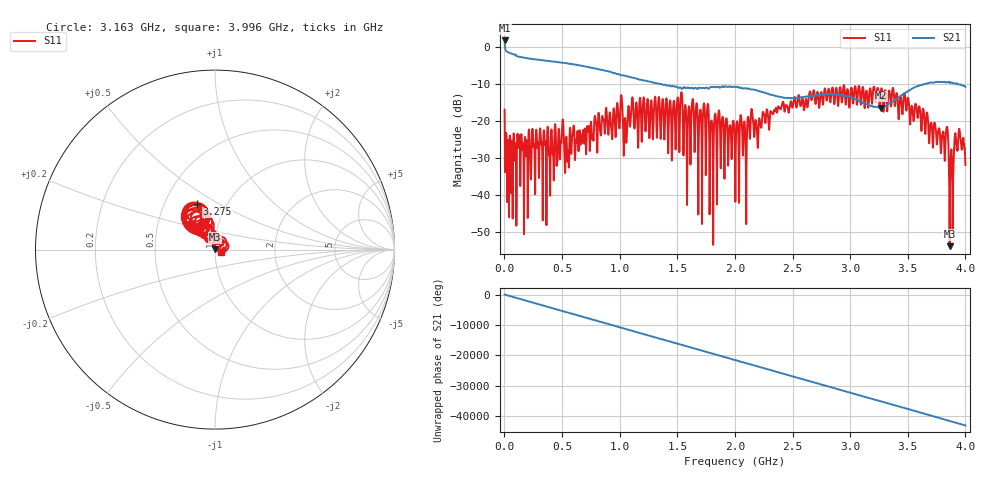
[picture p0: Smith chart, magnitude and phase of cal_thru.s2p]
!Created with skrf (http://scikit-rf.org).
# GHz S RI R 50.0
!freq ReS11 ImS11 ReS21 ImS21 ReS12 ImS12 ReS22 ImS22
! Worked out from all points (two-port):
!   4000 points, 1 MHz to 4 GHz, reference 50 ohm
!   highest |S21| = 1.88 dB at 1 MHz (marker M1); lowest = -16.3 dB at 3.269 GHz (marker M2)
!   |S21| within 3 dB of the highest: start of sweep to 19.33 MHz
!   lowest |S11| = -53.8 dB at 3.863 GHz (marker M3), VSWR 1.00, Z = 50.1 + j0.195 ohm
!   |S11| at or under -10 dB: start of sweep to end of sweep
!   S12 and S22 are empty: the file has one direction only
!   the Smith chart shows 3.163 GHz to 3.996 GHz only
!   S11 on the Smith chart (normalised r, x): 3.163 GHz: 0.72, +0.21; 3.275 GHz: 0.73, +0.40; 3.996 GHz: 1.07, -0.03
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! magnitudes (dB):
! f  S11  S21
! 1 MHz  -16.8  1.9
! 22 MHz  -35.7  -1.2
! 55 MHz  -37.6  -1.6
! 668 MHz  -23.6  -5.0
! 999 MHz  -21.8  -7.3
! 1.048 GHz  -19.5  -7.7
! 1.096 GHz  -19.2  -8.0
! 1.334 GHz  -15.0  -9.8
! 1.749 GHz  -29.2  -10.9
! 1.796 GHz  -19.8  -10.7
! 2.001 GHz  -31.2  -10.7
! 2.667 GHz  -14.1  -13.1
! 3.163 GHz  -13.9  -15.6
! 3.269 GHz  -11.3  -16.3
! 3.275 GHz  -11.3  -16.3
! 3.334 GHz  -11.9  -15.4
! 3.829 GHz  -24.3  -9.5
! 3.863 GHz  -53.8  -9.5
! 3.879 GHz  -27.9  -9.6
! 3.931 GHz  -28.0  -9.9
! 3.996 GHz  -28.3  -10.6
! 4 GHz  -31.8  -10.7
